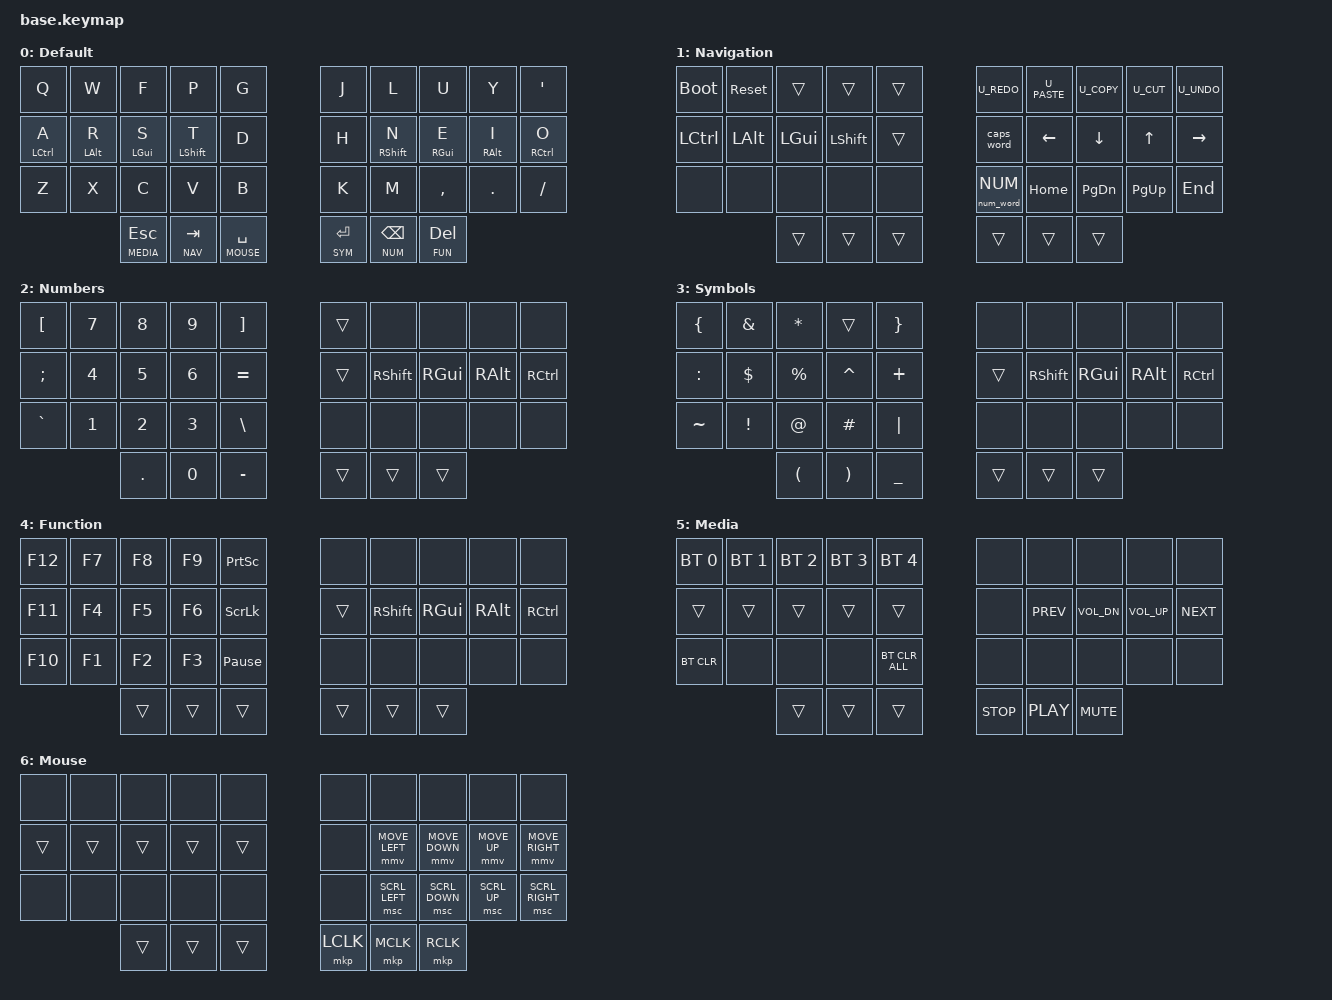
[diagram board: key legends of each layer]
#include <behaviors.dtsi>
#include <dt-bindings/zmk/keys.h>
#include <dt-bindings/zmk/pointing.h>
#include <dt-bindings/zmk/bt.h>
#include <behaviors/num_word.dtsi>

#include "includes/settings.dtsi"
#include "includes/behaviours_homerow_mods.dtsi"
#include "includes/custom_keycodes.dtsi"

#define BASE    0
#define NAV     1
#define NUM     2
#define SYM     3
#define FUN     4
#define MEDIA   5
#define MOUSE   6

/ {

    keymap {
        compatible = "zmk,keymap";

        default_layer {
            display-name = "Default";
            bindings = <
                &kp Q               &kp W               &kp F               &kp P                   &kp G                      &kp J               &kp L                   &kp U             &kp Y               &kp QUOT
                &hml LCTRL A        &hml LALT R         &hml LGUI S         &hml LSHFT T            &kp D                      &kp H               &hmr RSHFT N            &hmr RGUI E       &hmr RALT I         &hmr RCTRL O
                &kp Z               &kp X               &kp C               &kp V                   &kp B                      &kp K               &kp M                   &kp COMMA         &kp DOT             &kp SLASH
                                                        &lt MEDIA ESC       &lt NAV TAB             &lt MOUSE SPACE            &lt SYM ENTER       &lt NUM BSPC            &lt FUN DEL
            >;
        };
        
        nav_layer {
            display-name = "Navigation";
            bindings = <
                &bootloader  &sys_reset    &trans         &trans         &trans                   &kp U_REDO     &kp U_PASTE    &kp U_COPY    &kp U_CUT      &kp U_UNDO      
                &kp LCTRL    &kp LALT      &kp LGUI       &kp LSHFT      &trans                   &caps_word     &kp LEFT       &kp DOWN      &kp UP         &kp RIGHT         
                &none        &none         &none          &none          &none                    &num_word NUM  &kp HOME       &kp PG_DN     &kp PG_UP      &kp END    
                                           &trans         &trans         &trans                   &trans         &trans         &trans                       
            >;
        };
        
        num_layer {
            display-name = "Numbers";
            bindings = <
                &kp LBKT     &kp N7       &kp N8          &kp N9      &kp RBKT                 &trans         &none          &none         &none          &none       
                &kp SEMI     &kp N4       &kp N5          &kp N6      &kp EQUAL                &trans         &kp RSHFT      &kp RGUI      &kp RALT       &kp RCTRL             
                &kp GRAVE    &kp N1       &kp N2          &kp N3      &kp BSLH                 &none          &none          &none         &none          &none     
                                          &kp DOT         &kp N0      &kp MINUS                &trans         &trans         &trans                       
            >;
        };
        
        sym_layer {
            display-name = "Symbols";
            bindings = <
                &kp LBRC     &kp AMPS      &kp ASTRK      &trans         &kp RBRC                 &none        &none          &none         &none          &none       
                &kp COLON    &kp DOLLAR    &kp PERCENT    &kp CARET      &kp PLUS                 &trans       &kp RSHFT      &kp RGUI      &kp RALT       &kp RCTRL             
                &kp TILDE    &kp EXCL      &kp AT         &kp HASH       &kp PIPE                 &none        &none          &none         &none          &none     
                                           &kp LPAR       &kp RPAR       &kp UNDER                &trans       &trans         &trans                       
            >;
        };
        
        fun_layer {
            display-name = "Function";
            bindings = <
                &kp F12         &kp F7       &kp F8        &kp F9        &kp PSCRN                  &none        &none          &none         &none          &none       
                &kp F11         &kp F4       &kp F5        &kp F6        &kp SLCK                   &trans       &kp RSHFT      &kp RGUI      &kp RALT       &kp RCTRL             
                &kp F10         &kp F1       &kp F2        &kp F3        &kp PAUSE_BREAK            &none        &none          &none         &none          &none     
                                             &trans        &trans        &trans                     &trans       &trans         &trans                       
            >;
        };
        
        media_layer {
            display-name = "Media";
            bindings = <
                &bt BT_SEL 0  &bt BT_SEL 1  &bt BT_SEL 2  &bt BT_SEL 3  &bt BT_SEL 4             &none        &none          &none         &none          &none
                &trans        &trans        &trans        &trans        &trans                   &none        &kp C_PREV     &kp C_VOL_DN  &kp C_VOL_UP   &kp C_NEXT
                &bt BT_CLR    &none         &none         &none         &bt BT_CLR_ALL           &none        &none          &none         &none          &none
                                            &trans        &trans        &trans                   &kp C_STOP   &kp C_PLAY     &kp C_MUTE
            >;
        };
        
        mouse_layer {
            display-name = "Mouse";
            bindings = <
                &none        &none         &none          &none          &none                    &none        &none          &none          &none          &none       
                &trans       &trans        &trans         &trans         &trans                   &none        &mmv MOVE_LEFT &mmv MOVE_DOWN &mmv MOVE_UP   &mmv MOVE_RIGHT             
                &none        &none         &none          &none          &none                    &none        &msc SCRL_LEFT &msc SCRL_DOWN &msc SCRL_UP   &msc SCRL_RIGHT     
                                           &trans         &trans         &trans                   &mkp LCLK    &mkp MCLK      &mkp RCLK                      
            >;    
        };
        
    };
};


